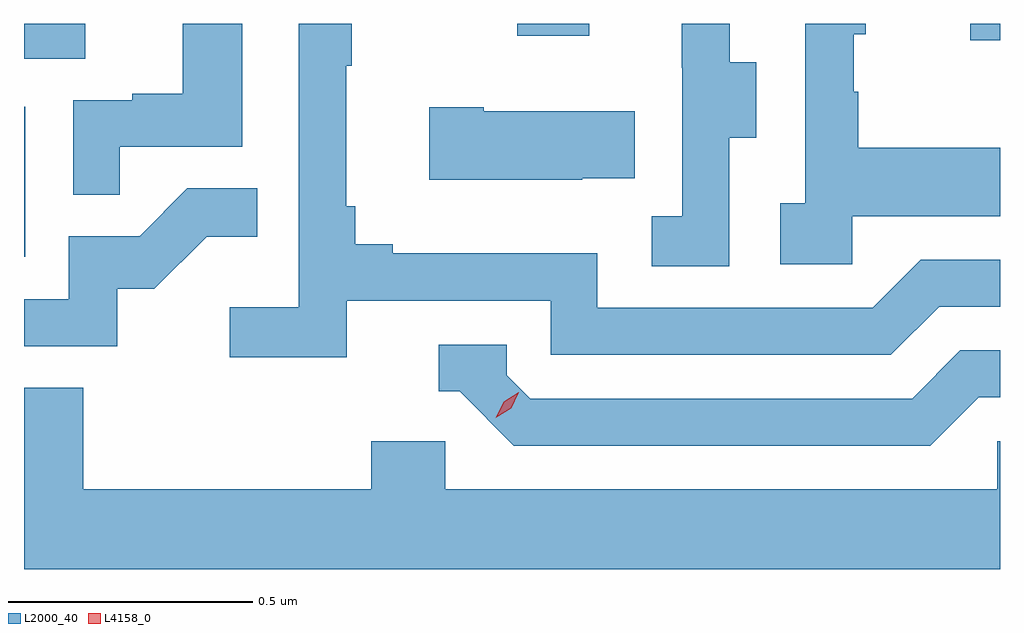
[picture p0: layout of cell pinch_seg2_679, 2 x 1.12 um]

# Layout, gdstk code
import gdstk
lib = gdstk.Library(unit=1e-6, precision=1e-09)
def R(c, l, rs):  # rectangles x0, y0, x1, y1
    for r in rs: c.add(gdstk.rectangle(r[:2], r[2:], *l))
def P(c, l, *ps):  # polygons
    for p in ps: c.add(gdstk.Polygon(p, *l))
L2000_40 = (2000, 40)
L4158_0 = (4158, 0)

pinch_seg2_679 = lib.new_cell('pinch_seg2_679')
R(pinch_seg2_679, L2000_40, [(1046.155,592.332,1046.158,592.639), (1046.155,592.738,1046.281,592.809), (1048.094,592.776,1048.155,592.809), (1047.166,592.785,1047.313,592.809)])
P(pinch_seg2_679, L2000_40, [(1047.6,592.576),(1047.655,592.576),(1047.655,592.731),(1047.601,592.731),(1047.601,592.809),(1047.503,592.809),(1047.503,592.719),(1047.504,592.719),(1047.504,592.415),(1047.441,592.415),(1047.441,592.312),(1047.6,592.312)],
  [(1047.852,592.415),(1048.155,592.415),(1048.155,592.555),(1047.865,592.555),(1047.865,592.67),(1047.855,592.67),(1047.855,592.788),(1047.88,592.788),(1047.88,592.809),(1047.756,592.809),(1047.756,592.442),(1047.705,592.442),(1047.705,592.317),(1047.852,592.317)],
  [(1046.816,592.242),(1047.234,592.242),(1047.234,592.131),(1047.931,592.131),(1048.03,592.23),(1048.155,592.23),(1048.155,592.326),(1047.993,592.326),(1047.894,592.227),(1047.33,592.227),(1047.33,592.339),(1046.911,592.339),(1046.911,592.358),(1046.834,592.358),(1046.834,592.435),(1046.815,592.435),(1046.815,592.723),(1046.827,592.723),(1046.827,592.809),(1046.718,592.809),(1046.718,592.228),(1046.577,592.228),(1046.577,592.126),(1046.816,592.126)],
  [(1046.351,592.557),(1046.602,592.557),(1046.602,592.809),(1046.48,592.809),(1046.48,592.666),(1046.377,592.666),(1046.377,592.653),(1046.256,592.653),(1046.256,592.459),(1046.351,592.459)],
  [(1047.299,592.493),(1047.407,592.493),(1047.407,592.63),(1047.097,592.63),(1047.097,592.638),(1046.985,592.638),(1046.985,592.49),(1047.299,592.49)],
  [(1046.346,592.266),(1046.422,592.266),(1046.529,592.373),(1046.633,592.373),(1046.633,592.472),(1046.49,592.472),(1046.392,592.374),(1046.247,592.374),(1046.247,592.245),(1046.155,592.245),(1046.155,592.149),(1046.346,592.149)],
  [(1048.111,592.044),(1048.155,592.044),(1048.155,592.14),(1048.074,592.14),(1047.975,592.041),(1047.192,592.041),(1047.144,592.089),(1047.144,592.152),(1047.005,592.152),(1047.005,592.056),(1047.048,592.056),(1047.159,591.945),(1048.012,591.945)],
  [(1048.155,591.954),(1048.149,591.954),(1048.149,591.856),(1047.018,591.856),(1047.018,591.954),(1046.867,591.954),(1046.867,591.856),(1046.276,591.856),(1046.276,592.064),(1046.155,592.064),(1046.155,591.692),(1048.155,591.692)])
P(pinch_seg2_679, L4158_0, [(1047.122,592.002),(1047.122,592.002),(1047.138,592.035),(1047.169,592.054),(1047.169,592.054),(1047.169,592.054),(1047.153,592.021),(1047.122,592.002)])

lib.write_gds('pinch_seg2_679.gds')
